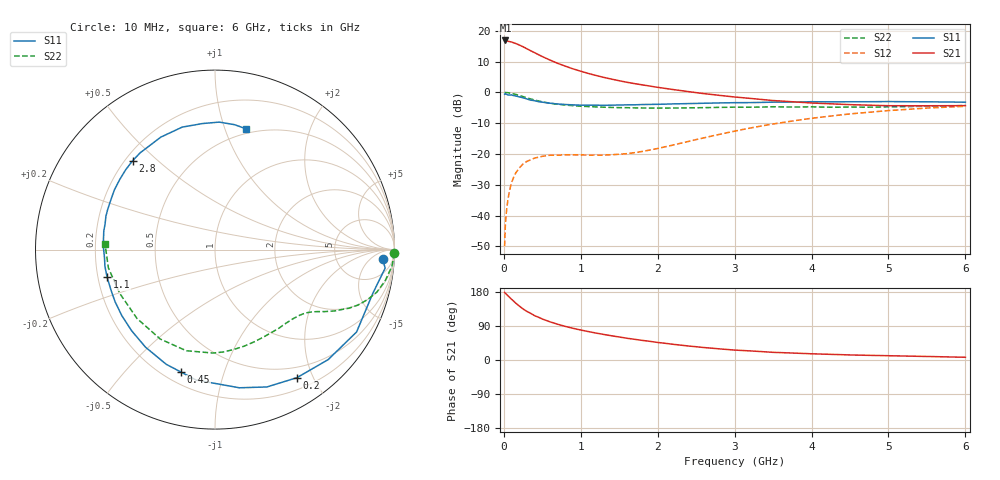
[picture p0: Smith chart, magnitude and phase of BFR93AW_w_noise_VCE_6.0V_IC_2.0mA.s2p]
! Infineon Technologies  Discrete & RF Semiconductors
! BFR93AW
! VCE =  6.0 V,  IC =  2.0 mA
! Common Emitter S-Parameters:  Jan 2017
# GHz  S  MA  R  50
!  f  S11  S21  S12  S22
! GHz  MAG  ANG  MAG  ANG  MAG  ANG  MAG  ANG
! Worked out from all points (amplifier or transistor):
!   77 points, 10 MHz to 6 GHz, reference 50 ohm
!   highest |S21| = 16.9 dB at 20 MHz (marker M1)
!   |S21| within 3 dB of that: start of sweep to 322.8 MHz
!   unconditionally stable (mu >= 1): 1.276 GHz to 2.253 GHz
!   at 130 MHz: K = 0.11, MSG = 21.7 dB, |S12| = -27.4 dB
!   at 2.2 GHz: K = 1.02, MAG = 8.2 dB, |S12| = -17.1 dB
!   at 6 GHz: K = 0.96, MSG = 0.1 dB, |S12| = -4.5 dB
!   lowest NFmin = 1.49 dB at 450 MHz
!   S11 on the Smith chart (normalised r, x): 10 MHz: 18, -15; 200 MHz: 0.35, -1.77; 450 MHz: 0.27, -0.73; 1.1 GHz: 0.24, -0.12; 2.8 GHz: 0.23, +0.42; 6 GHz: 0.46, +1.19
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0.01  0.9347 -3.2  6.83 178.1  0.0032 86.7  1 -1.1
0.02  0.9538 -6.2  6.966 176.2  0.0071 86.7  0.9962 -2.2
0.05  0.9129 -15.3  6.796 170.1  0.017 80.6  0.9904 -5.3
0.1  0.9126 -30.2  6.584 160.3  0.0342 73.9  0.9648 -10.2
0.15  0.8793 -44.2  6.256 151.0  0.0483 66.3  0.9325 -14.7
0.2  0.8471 -57.4  5.882 142.5  0.0594 60.0  0.8938 -18.2
0.25  0.8181 -69.3  5.509 134.7  0.069 54.4  0.8545 -21.2
0.3  0.7818 -80.0  5.104 128.2  0.076 49.4  0.8154 -23.6
0.4  0.7342 -98.2  4.41 117.0  0.086 42.4  0.7517 -27.0
0.45  0.7084 -105.4  4.1 112.9  0.0888 40.0  0.7273 -28.2
0.5  0.6945 -113.0  3.815 108.2  0.0918 37.7  0.7033 -29.4
0.6  0.6674 -125.5  3.35 100.7  0.0957 34.7  0.6685 -31.1
0.7  0.6482 -135.8  2.964 94.3  0.0959 33.1  0.6426 -32.7
0.9  0.6278 -152.6  2.408 83.6  0.0969 32.7  0.6091 -35.9
1.1  0.6205 -165.6  2.028 75.0  0.0962 34.9  0.5889 -39.5
1.6  0.6281 170.6  1.461 57.4  0.1015 48.5  0.5649 -50.6
2.1  0.6453 152.8  1.16 44.0  0.1314 63.1  0.5571 -64.2
2.8  0.6752 132.9  0.896 29.4  0.2082 69.5  0.5721 -85.1
3.1  0.682 125.3  0.821 25.1  0.2495 67.8  0.5752 -94.0
4.1  0.7049 103.2  0.665 15.8  0.3933 56.3  0.5792 -124.9
5.1  0.7087 86.7  0.608 10.9  0.5166 40.6  0.5847 -158.4
6  0.6946 75.4  0.61 7.2  0.5963 26.8  0.6131 177.3
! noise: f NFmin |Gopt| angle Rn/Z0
0.45  1.49  0.44  71  0.2
0.9  1.76  0.41  128  0.21
1.9  3.23  0.56  -159  0.25
2.4  4.18  0.62  -139  0.45
